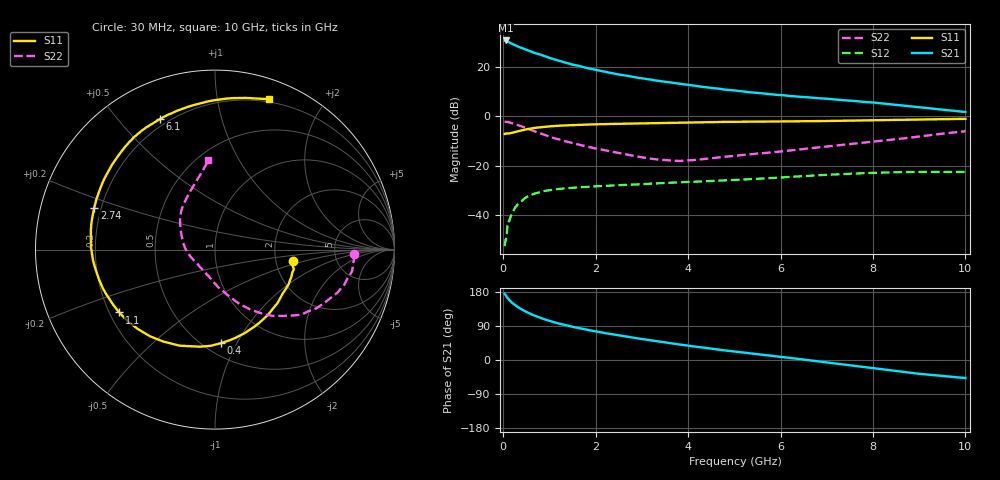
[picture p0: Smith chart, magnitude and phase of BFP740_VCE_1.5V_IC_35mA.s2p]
! Infineon Technologies  Discrete & RF Semiconductors
! BFP740
! VCE =  1.5 V,  IC =  35 mA
! Common Emitter S-Parameters:  Jan 2016
# GHz  S  MA  R  50
!  f  S11  S21  S12  S22
! GHz  MAG  ANG  MAG  ANG  MAG  ANG  MAG  ANG
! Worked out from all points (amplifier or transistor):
!   229 points, 30 MHz to 10 GHz, reference 50 ohm
!   highest |S21| = 30.6 dB at 50 MHz (marker M1)
!   |S21| within 3 dB of that: start of sweep to 392.8 MHz
!   unconditionally stable (mu >= 1): start of sweep to 87.68 MHz; 3.187 GHz to end of sweep
!   at 280 MHz: K = 0.55, MSG = 32.4 dB, |S12| = -36.3 dB
!   at 1.78 GHz: K = 0.71, MSG = 24.1 dB, |S12| = -28.5 dB
!   at 10 GHz: K = 1.20, MAG = 9.4 dB, |S12| = -22.4 dB
!   S11 on the Smith chart (normalised r, x): 30 MHz: 2.50, -0.40; 400 MHz: 0.60, -0.86; 1.1 GHz: 0.24, -0.28; 2.74 GHz: 0.17, +0.16; 6.1 GHz: 0.17, +0.65; 10 GHz: 0.18, +1.41
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0.03  0.4401 -8.5  33.23 175.0  0.0024 68.7  0.7726 -2.0
0.04  0.44 -11.4  33.1 173.3  0.0028 54.8  0.7757 -3.4
0.05  0.4526 -14.0  33.94 171.8  0.0032 59.6  0.7762 -4.7
0.08  0.4511 -22.3  33.05 165.8  0.0044 69.5  0.7738 -7.7
0.11  0.4509 -30.4  31.9 161.2  0.0067 73.9  0.7631 -11.2
0.2  0.4688 -51.4  28.82 150.1  0.0113 65.8  0.7228 -19.4
0.3  0.4942 -70.6  26.07 141.0  0.0161 60.9  0.6726 -26.8
0.4  0.5223 -86.3  23.89 133.6  0.0196 56.2  0.6234 -33.4
0.6  0.5706 -110.3  20.22 121.1  0.0259 47.0  0.5297 -44.2
0.7  0.5879 -119.5  18.72 116.0  0.028 43.6  0.4917 -48.7
0.9  0.6171 -134.2  16.4 107.1  0.0313 37.8  0.4194 -55.9
1.1  0.6381 -146.7  14.14 99.6  0.0331 33.5  0.363 -61.9
1.4  0.6602 -160.5  11.77 90.4  0.0355 29.2  0.3039 -69.0
1.7  0.6758 -171.5  10.08 82.6  0.0373 26.4  0.2584 -75.0
2.2  0.6963 173.7  7.929 71.1  0.0395 23.2  0.207 -86.0
2.74  0.712 160.9  6.43 60.4  0.0417 21.3  0.1648 -97.8
3.4  0.7314 147.6  5.149 48.2  0.0448 19.5  0.1332 -120.9
5.1  0.7765 122.5  3.241 21.0  0.0526 15.1  0.1641 178.9
6.1  0.7895 113.0  2.643 7.0  0.0592 12.6  0.2 158.0
6.8  0.8016 105.5  2.327 -3.2  0.0646 8.7  0.2351 145.3
8.4  0.8442 85.5  1.746 -27.6  0.0741 -3.2  0.3359 116.8
10  0.8894 70.3  1.222 -47.5  0.0755 -14.0  0.5 94.2
